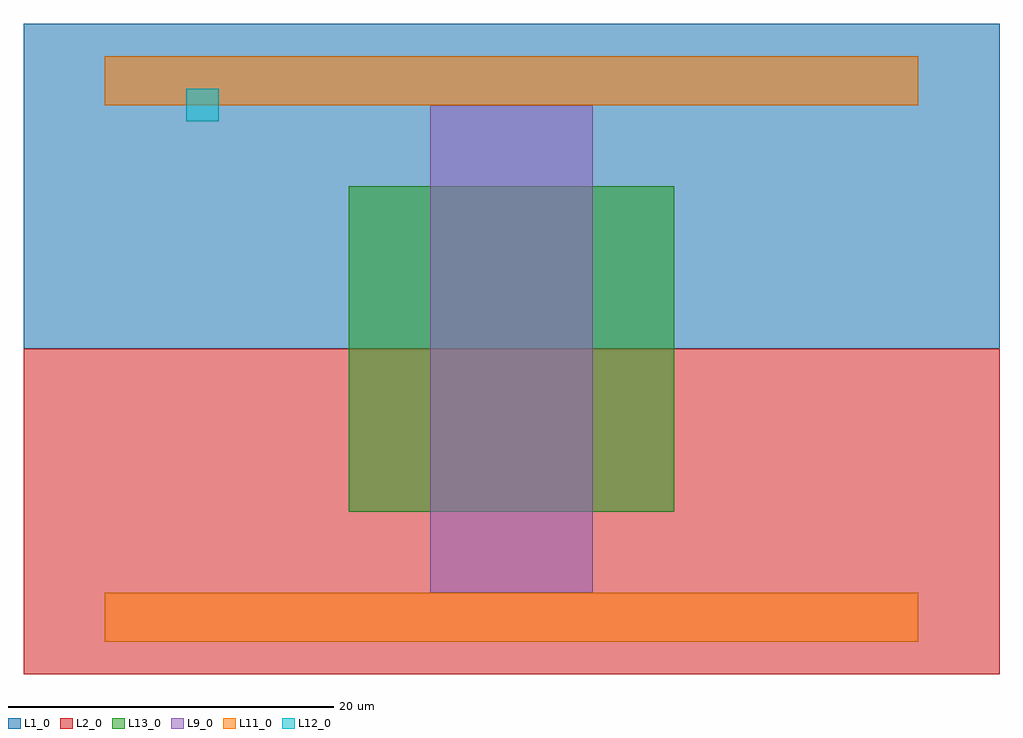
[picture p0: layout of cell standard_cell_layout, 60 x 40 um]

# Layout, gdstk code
import gdstk
lib = gdstk.Library(unit=1e-6, precision=1e-09)
def R(c, l, rs):  # rectangles x0, y0, x1, y1
    for r in rs: c.add(gdstk.rectangle(r[:2], r[2:], *l))
L1_0 = (1, 0)
L2_0 = (2, 0)
L9_0 = (9, 0)
L11_0 = (11, 0)
L12_0 = (12, 0)
L13_0 = (13, 0)

pmos_nwell_area = lib.new_cell('PMOS_nwell_area')
R(pmos_nwell_area, L1_0, [(0,0,60,20)])

nmos_pwell_area = lib.new_cell('NMOS_pwell_area')
R(nmos_pwell_area, L2_0, [(0,0,60,20)])

transistor_gate = lib.new_cell('transistor_gate')
R(transistor_gate, L9_0, [(0,0,10,30)])

power_rail_vdd = lib.new_cell('power_rail_VDD')
R(power_rail_vdd, L11_0, [(0,0,50,3)])

power_rail_vss = lib.new_cell('power_rail_VSS')
R(power_rail_vss, L11_0, [(0,0,50,3)])

output_wire = lib.new_cell('output_wire')
R(output_wire, L13_0, [(0,0,20,20)])

vdd_via_to_m2 = lib.new_cell('vdd_via_to_m2')
R(vdd_via_to_m2, L12_0, [(0,0,2,2)])

standard_cell_layout = lib.new_cell('standard_cell_layout')
standard_cell_layout.add(gdstk.Reference(pmos_nwell_area, (0,20)))
standard_cell_layout.add(gdstk.Reference(nmos_pwell_area, (0,0)))
standard_cell_layout.add(gdstk.Reference(transistor_gate, (25,5)))
standard_cell_layout.add(gdstk.Reference(power_rail_vdd, (5,35)))
standard_cell_layout.add(gdstk.Reference(power_rail_vss, (5,2)))
standard_cell_layout.add(gdstk.Reference(output_wire, (20,10)))
standard_cell_layout.add(gdstk.Reference(vdd_via_to_m2, (10,34)))

lib.write_gds('standard_cell_layout.gds')
